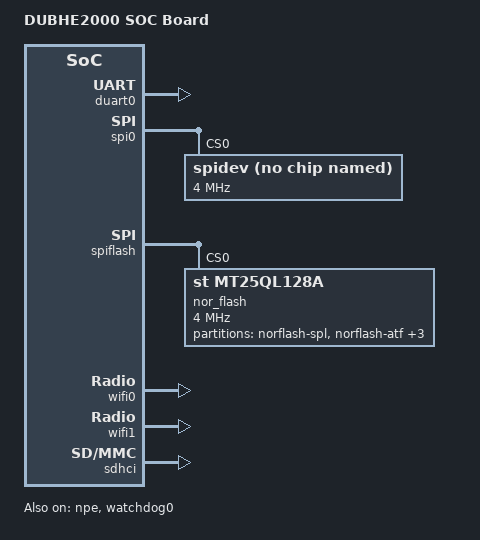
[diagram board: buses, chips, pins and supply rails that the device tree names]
// SPDX-License-Identifier: (GPL-2.0+ OR MIT)
/*
 * Device Tree Include file for Clourney dubhe2000 family SoC.
 *
 * Copyright (C) 2022-2023 Clourney Semiconductor - All Rights Reserved.
 *
 */

/dts-v1/;
#include "clourney-dubhe2000.dtsi"

/ {
	model = "DUBHE2000 SOC Board";
	compatible = "clourney,dubhe2000";

	aliases {
		serial0 = &duart0;
		spidev0 = &spi0;
		spinor = &spiflash;
	};

	chosen {
		stdout-path = "serial0:9600n8";
	};
};

&duart0 {
	status = "ok";
};

&spi0 {
	status = "ok";
	spidev@0 {
		spi-max-frequency = <4000000>;
		reg = <0>;
		compatible = "linux,spidev";
	};
};

&spiflash {
	status = "ok";

	nor_flash: flash@0 {
		compatible = "st,mt25ql128a", "jedec,spi-nor";
		spi-max-frequency = <4000000>;
		reg = <0>;
		#address-cells = <1>;
		#size-cells = <1>;

		partition@0 {
			label = "norflash-spl";
			reg = <0x0 0x20000>;
		};

		partition@1 {
			label = "norflash-atf";
			reg = <0x20000 0x60000>;
		};

		partition@2 {
			label = "norflash-uboot";
			reg = <0x80000 0x80000>;
		};

		partition@3 {
			label = "norflash-dtb";
			reg = <0x100000 0x100000>;
		};

		partition@4 {
			label = "norflash-rootfs";
			reg = <0x200000 0xE00000>;
		};
	};
};

&npe  { status = "ok"; };

&wifi0 { status = "ok"; };

&wifi1 { status = "ok"; };

&sdhci { status = "ok"; };

&watchdog0 {
	timeout-sec = <WDT_TIMEOUT_S>;
	status = "ok";
};

&gpio0 { status = "ok"; };

&gpio1 { status = "ok"; };

&gpio_keys { status = "ok"; };

&gpio_leds { status = "ok"; };
